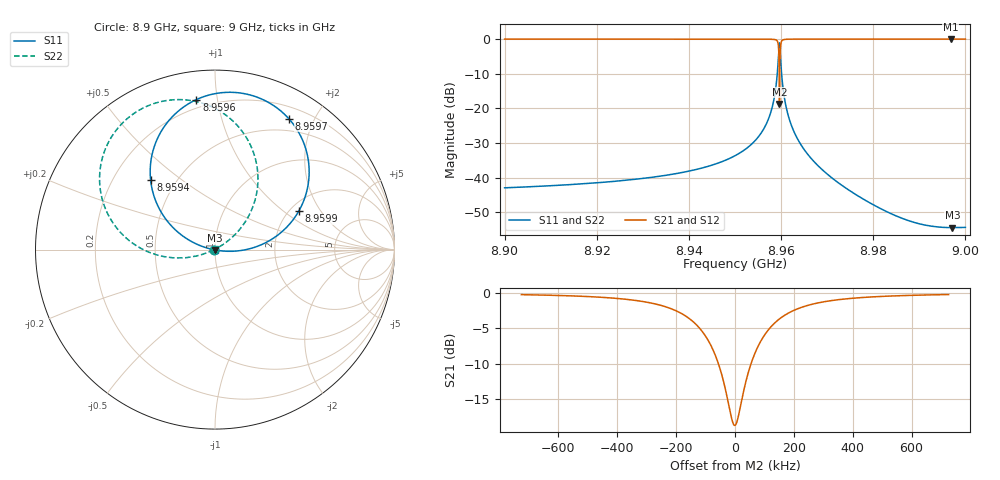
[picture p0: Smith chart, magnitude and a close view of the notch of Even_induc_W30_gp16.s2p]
! Sonnet Data File
! From: emgraph Version : 16.52
! From Project: Resonator2_cp
! Data is De-embedded
! Data File Written: 10/09/2017 00:47:19
!< HDATE 10/08/2017 10:09:33
!< MDATE 10/08/2017 10:09:33
!< PARAMS
!< Length = 400.0
!< Pwid1 = 2000.0
!< Pwid2 = 2000.0
!< Air_gap = 18.0
!< Width = 30.0
!< gap = 16.0
!< END PARAMS
# GHZ S MA R 51.00000
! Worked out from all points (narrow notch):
!   1595 points, 8.9 GHz to 9 GHz, reference 51 ohm
!   highest |S21| = 0.00 dB at 8.9968 GHz (marker M1); lowest = -18.7 dB at 8.9597 GHz (marker M2)
!   notch at M2: 18.7 dB deep, 122 kHz wide at half that depth
!   lowest |S11| = -54.5 dB at 8.9972 GHz (marker M3), VSWR 1.00, Z = 51 - j0.189 ohm
!   |S11| at or under -10 dB: start of sweep to 8.9592 GHz; 8.960112 GHz to end of sweep
!   |S22| runs from -54.4 to -1.1 dB; largest |S21 - S12| = 0
!   S11 on the Smith chart (normalised r, x): 8.9 GHz: 0.99, -0.00; 8.9594 GHz: 0.36, +0.39; 8.9596 GHz: 0.15, +0.87; 8.9597 GHz: 0.34, +1.66; 8.9599 GHz: 2.23, +1.29; 9 GHz: 1.00, -0.00
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8.9  0.007103 -175.2  1 -81.7  1 -81.7  0.007103 -168.2
!< P1 F=8.9 Eeff=(6.44504261 -2.9711e-5) Z0=(50.6185376 1.16782e-4) R=0.0 C=0.0
!< P2 F=8.9 Eeff=(6.44504261 -2.9711e-5) Z0=(50.6185376 1.16782e-4) R=0.0 C=0.0
8.9167  0.008099 -177.4  1 -81.9  1 -81.9  0.008099 -166.5
8.9334  0.01039 179.3  0.9999 -82.2  0.9999 -82.2  0.01039 -163.8
8.95  0.02065 173.3  0.9997 -83.0  0.9997 -83.0  0.02066 -159.4
8.9569  0.06154 167.1  0.9977 -85.4  0.9977 -85.4  0.06156 -158.6
8.958596  0.1518 160.1  0.9855 -90.6  0.9855 -90.6  0.1518 -163.5
8.959178  0.3165 148.7  0.935 -100.3  0.935 -100.3  0.3166 -174.2
8.95941  0.53 132.6  0.804 -113.7  0.804 -113.7  0.5303 170.1
8.959525  0.7248 114.3  0.5812 -127.5  0.5812 -127.5  0.7252 151.9
8.959593  0.8421 97.1  0.3248 -134.3  0.3248 -134.3  0.8425 134.8
8.959651  0.8842 79.3  0.1156 -82.0  0.1156 -82.0  0.8846 117.0
8.959711  0.8377 60.7  0.3366 -29.5  0.3366 -29.5  0.8381 98.5
8.959802  0.6724 38.7  0.6542 -40.1  0.6542 -40.1  0.6728 76.7
8.9599  0.5126 24.6  0.8169 -51.1  0.8169 -51.1  0.5129 62.7
8.960101  0.3227 10.4  0.9316 -63.0  0.9316 -63.0  0.3229 48.8
8.960412  0.1983 1.7  0.9746 -70.4  0.9746 -70.4  0.1984 40.6
8.9618  0.06915 -7.8  0.9969 -77.9  0.9969 -77.9  0.06919 33.1
8.9667  0.01832 -15.5  0.9998 -80.9  0.9998 -80.9  0.01834 34.1
8.9834  0.003106 -48.2  1 -81.9  1 -81.9  0.003117 64.5
8.9968  0.00189 -98.9  1 -82.2  1 -82.2  0.001899 114.5
8.9972  0.001888 -100.3  1 -82.2  1 -82.2  0.001897 115.9
9  0.001907 -109.1  1 -82.2  1 -82.2  0.001916 124.6
